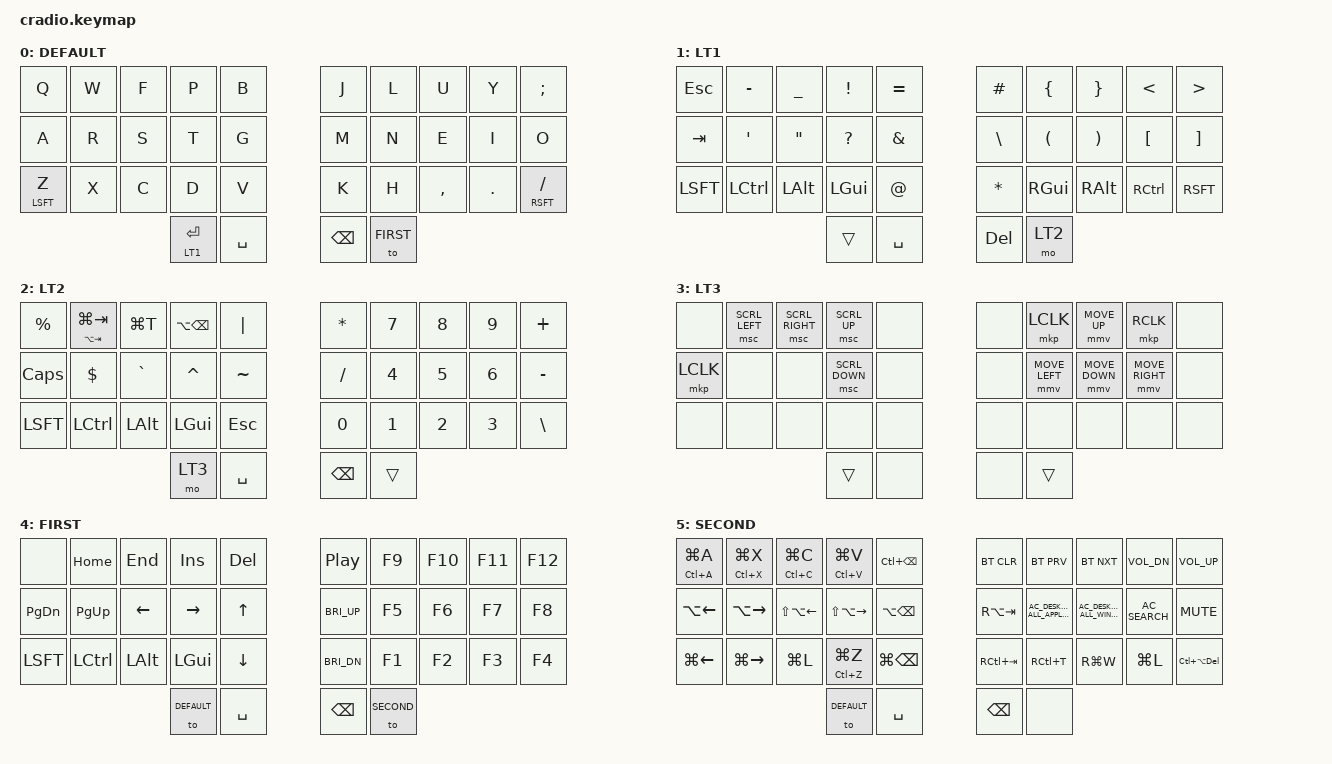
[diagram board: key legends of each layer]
/*
 * Copyright (c) 2020 The ZMK Contributors
 *
 * SPDX-License-Identifier: MIT
 */

#include <behaviors.dtsi>
#include <dt-bindings/zmk/keys.h>
#include <dt-bindings/zmk/bt.h>
#include <dt-bindings/zmk/pointing.h>

#define DEFAULT 0
#define LT1     1
#define LT2     2
#define LT3     3
#define FIRST   4
#define SECOND  5

#define ZMK_POINTING_DEFAULT_MOVE_VAL 1000
#define ZMK_POINTING_DEFAULT_SCRL_VAL 15

&lt {
    tapping_term_ms = <130>;
    flavor = "hold-preferred";
};

&mt {
    tapping_term_ms = <118>;
    quick_tap_ms = <118>;
    flavor = "tap-preferred";
};

/ { 

        keymap {
                compatible = "zmk,keymap";

       	DEFAULT {
            bindings = <
            &kp Q       &kp W   &kp F   &kp P   &kp B   &kp J   &kp L   &kp U       &kp Y   &kp SEMI 
            &kp A       &kp R   &kp S   &kp T   &kp G   &kp M   &kp N   &kp E       &kp I   &kp O
            &mt LSFT Z  &kp X   &kp C   &kp D   &kp V   &kp K   &kp H   &kp CMMA    &kp DOT &mt RSFT FSLH
                                &lt LT1 RET  &kp SPC    &kp BSPC &to FIRST 
            >;
		};

        LT1 {
            bindings = <
            &kp ESC     &kp MINUS &kp UNDER &kp EXCL    &kp EQUAL     &kp HASH    &kp LBRC    &kp RBRC     &kp LT     &kp GT  
            &kp TAB     &kp QUOT  &kp DQT   &kp QMARK   &kp AMPS      &kp BSLH    &kp LPAR    &kp RPAR     &kp LBKT   &kp RBKT
            &kp LSFT    &kp LCTRL &kp LALT  &kp LGUI    &kp AT        &kp STAR    &kp RGUI    &kp RALT     &kp RCTL   &kp RSFT
                                            &trans      &kp SPC       &kp DEL     &mo LT2
            >;
		};

        LT2 {
            bindings = <
            &kp PRCNT  &mt LA(TAB) LG(TAB) &kp LG(T)    &kp LA(BSPC) &kp PIPE    &kp STAR     &kp NUM_7   &kp NUM_8    &kp NUM_9  &kp PLUS  
            &kp CAPS   &kp DLLR            &kp GRAVE    &kp CARET    &kp TILDE   &kp FSLH     &kp NUM_4   &kp NUM_5    &kp NUM_6  &kp MINUS
            &kp LSFT   &kp LCTRL           &kp LALT     &kp LGUI     &kp ESC     &kp NUM_0    &kp NUM_1   &kp NUM_2    &kp NUM_3  &kp BSLH
                                                        &mo LT3       &kp SPC     &kp BSPC    &trans
            >;
		};

        LT3 {
            bindings = <
            &none       &msc SCRL_LEFT  &msc SCRL_RIGHT   &msc SCRL_UP   &none     &none  &mkp LCLK           &mmv MOVE_UP      &mkp RCLK          &none
            &mkp LCLK   &none           &none             &msc SCRL_DOWN &none     &none  &mmv MOVE_LEFT      &mmv MOVE_DOWN    &mmv MOVE_RIGHT    &none
            &none       &none           &none             &none          &none     &none  &none               &none             &none              &none
                                                          &trans         &none     &none  &trans
            >;
        };

        FIRST {
            bindings = <
            &none       &kp HOME  &kp END  &kp INS   &kp DEL     &kp C_PP       &kp F9  &kp F10 &kp F11 &kp F12
            &kp PG_DN   &kp PG_UP &kp LEFT &kp RIGHT &kp UP      &kp C_BRI_UP   &kp F5  &kp F6  &kp F7  &kp F8
            &kp LSFT    &kp LCTRL &kp LALT &kp LGUI  &kp DOWN    &kp C_BRI_DN   &kp F1  &kp F2  &kp F3  &kp F4
                                          &to DEFAULT &kp SPC    &kp BSPC  &to SECOND
            >;
		};

        SECOND {
            bindings = <
            &mt LC(A) LG(A) &mt LC(X) LG(X) &mt LC(C) LG(C)  &mt LC(V) LG(V)   &kp LC(BSPC)    &bt BT_CLR    &bt BT_PRV                                &bt BT_NXT                        &kp C_VOL_DN     &kp C_VOL_UP 
            &kp LA(LEFT)    &kp LA(RIGHT)   &kp LS(LA(LEFT)) &kp LS(LA(RIGHT)) &kp LA(BSPC)    &kp RA(TAB)   &kp C_AC_DESKTOP_SHOW_ALL_APPLICATIONS    &kp C_AC_DESKTOP_SHOW_ALL_WINDOWS &kp C_AC_SEARCH  &kp C_MUTE
            &kp LG(LEFT)    &kp LG(RIGHT)   &kp LG(L)        &mt LC(Z) LG(Z)   &kp LG(BSPC)    &kp RC(TAB)   &kp RC(T)                                 &kp RG(W)                         &kp LG(L)        &kp LC(LA(DEL))
                                                             &to DEFAULT &kp SPC               &kp BSPC  &none  
            >;
		};
        
	};
};
